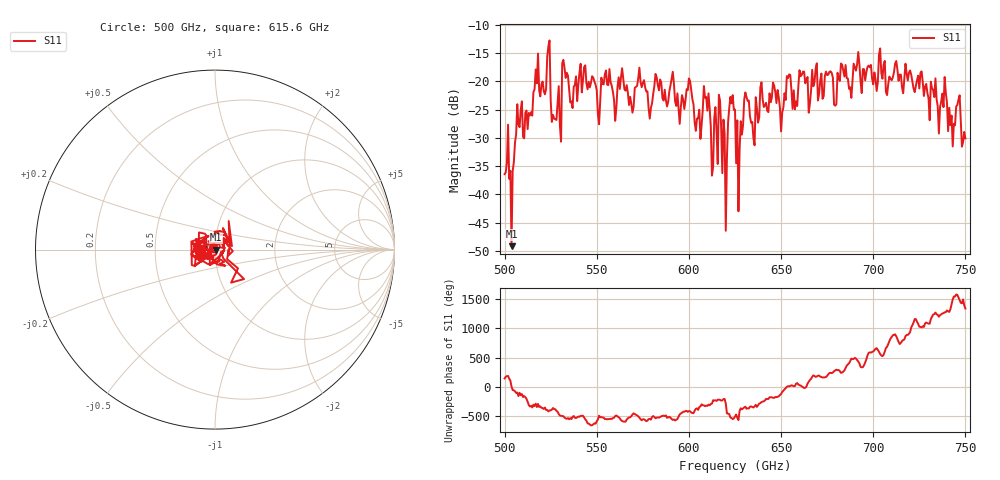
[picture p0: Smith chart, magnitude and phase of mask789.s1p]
!Created with skrf (http://scikit-rf.org).
# GHz S MA R 50.0
!freq magS11 angS11
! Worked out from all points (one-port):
!   401 points, 500 GHz to 750 GHz, reference 50 ohm
!   lowest |S11| = -49.2 dB at 503.8 GHz (marker M1), VSWR 1.01, Z = 50.3 + j0.0193 ohm
!   |S11| at or under -10 dB: start of sweep to end of sweep
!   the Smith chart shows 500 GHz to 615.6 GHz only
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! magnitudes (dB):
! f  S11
! 500 GHz  -36.4
! 503.8 GHz  -49.2
! 508.1 GHz  -28.1
! 513.8 GHz  -26.0
! 516.9 GHz  -17.9
! 523.8 GHz  -13.8
! 526.9 GHz  -26.6
! 531.2 GHz  -16.8
! 562.5 GHz  -21.3
! 593.8 GHz  -22.1
! 600 GHz  -19.5
! 605 GHz  -26.6
! 609.4 GHz  -22.7
! 612.5 GHz  -36.7
! 617.5 GHz  -28.3
! 619.4 GHz  -29.3
! 622.5 GHz  -22.7
! 625 GHz  -25.0
! 626.9 GHz  -43.0
! 631.2 GHz  -22.8
! 634.4 GHz  -27.2
! 640 GHz  -23.2
! 656.2 GHz  -24.9
! 687.5 GHz  -21.1
! 718.8 GHz  -19.8
! 743.1 GHz  -31.5
! 746.2 GHz  -23.2
! 750 GHz  -30.1
